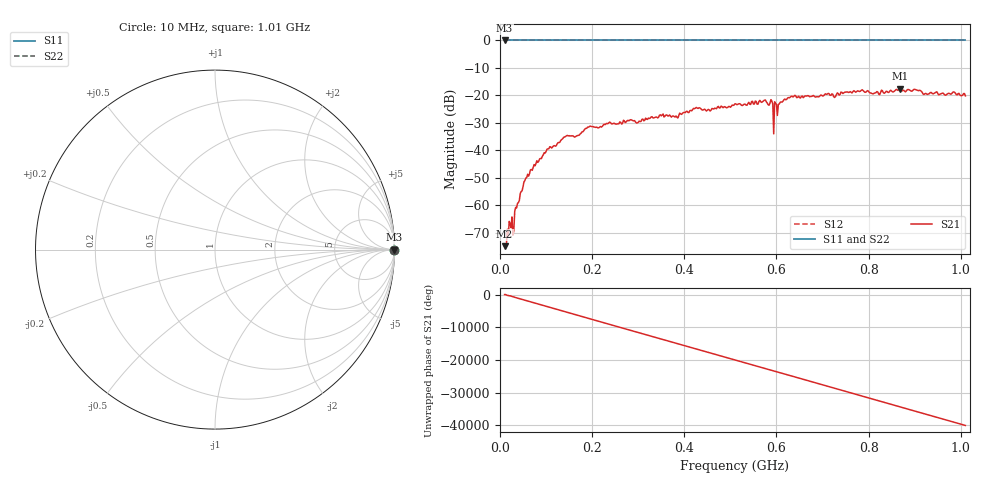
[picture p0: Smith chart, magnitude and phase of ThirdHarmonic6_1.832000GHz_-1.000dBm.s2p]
! 8/16/2025 10:11:25 PM
! C:\ANRITSUVNA\TEMP\TEMP.S2P
! CHANNEL.1
! TR.MEASUREMENT
! RAW.DATA
! RF.CORRECTION.OFF
! AVERAGING.OFF
! IF.BANDWIDTH: 5KHZ
! SWEEPTYPE:  FREQ.SWEEP(Linear)
! Reference Plane Port Info
! PORT:  PORT1  PORT2
! DISTANCE:  0  m  0  m
! TIME:  0  s  0  s
! PHASE.OFFSET:  0  deg.  0  deg.
! LOSS:  0  dB  0  dB
! REF.LOSS:  0  dB  0  dB
! REF.FREQ:  0  Hz  0  Hz
! Power Info
! POWER:  -20  dBm  -20  dBm
! EFF.POWER:  -20  dBm  -20  dBm
! SOURCE.ATTEN:  0  dB  0  dB
! TEST.ATTEN:  0  dB  0  dB
# GHZ S RI R 50.0
! FREQ.GHZ  S11RE  S11IM  S21RE  S21IM  S12RE  S12IM  S22RE  S22IM
!; PortSelection: Port_12
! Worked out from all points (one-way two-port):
!   501 points, 10 MHz to 1.01 GHz, reference 50 ohm
!   highest |S21| = -17.52 dB at 868 MHz (marker M1); lowest = -74.9 dB at 10 MHz (marker M2)
!   lowest |S11| = 0.0 dB at 10 MHz (marker M3)
!   |S11| at or under -10 dB: nowhere
!   |S22| runs from 0.0 to 0.0 dB; largest |S21 - S12| = 1.1
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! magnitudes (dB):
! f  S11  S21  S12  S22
! 10 MHz  0.0  -74.9  0.0  0.0
! 22 MHz  0.0  -66.6  0.0  0.0
! 26 MHz  0.0  -64.3  0.0  0.0
! 32 MHz  0.0  -62.2  0.0  0.0
! 36 MHz  0.0  -61.0  0.0  0.0
! 54 MHz  0.0  -51.0  0.0  0.0
! 70 MHz  0.0  -47.3  0.0  0.0
! 106 MHz  0.0  -39.4  0.0  0.0
! 178 MHz  0.0  -33.3  0.0  0.0
! 194 MHz  0.0  -31.4  0.0  0.0
! 344 MHz  0.0  -28.0  0.0  0.0
! 510 MHz  0.0  -23.1  0.0  0.0
! 574 MHz  0.0  -21.7  0.0  0.0
! 588 MHz  0.0  -21.6  0.0  0.0
! 590 MHz  0.0  -22.1  0.0  0.0
! 598 MHz  0.0  -22.9  0.0  0.0
! 600 MHz  0.0  -23.2  0.0  0.0
! 628 MHz  0.0  -20.9  0.0  0.0
! 678 MHz  0.0  -20.3  0.0  0.0
! 844 MHz  0.0  -18.9  0.0  0.0
! 868 MHz  0.0  -17.5  0.0  0.0
! 1.01 GHz  0.0  -20.2  0.0  0.0
